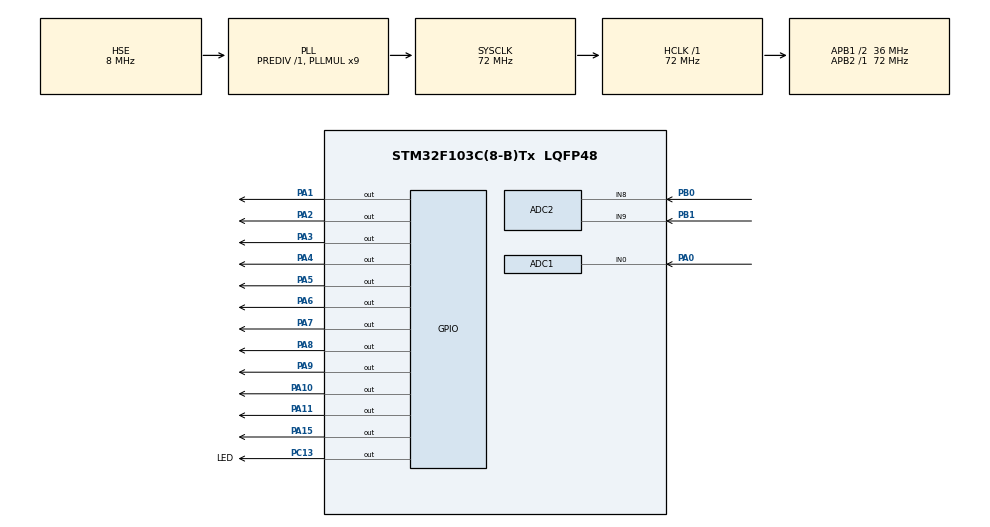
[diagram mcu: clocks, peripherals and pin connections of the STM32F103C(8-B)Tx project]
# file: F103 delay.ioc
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ADC1.Channel-5\#ChannelRegularConversion=ADC_CHANNEL_0
ADC1.DataAlign=ADC_DATAALIGN_RIGHT
ADC1.ExternalTrigConv=ADC_SOFTWARE_START
ADC1.NbrOfConversionFlag=1
ADC1.Rank-5\#ChannelRegularConversion=1
ADC1.SamplingTime-5\#ChannelRegularConversion=ADC_SAMPLETIME_1CYCLE_5
ADC1.master=1
ADC2.Channel-1\#ChannelRegularConversion=ADC_CHANNEL_8
ADC2.Channel-3\#ChannelRegularConversion=ADC_CHANNEL_9
ADC2.DiscontinuousConvMode=ENABLE
ADC2.NbrOfConversion=2
ADC2.NbrOfConversionFlag=1
ADC2.Rank-1\#ChannelRegularConversion=1
ADC2.Rank-3\#ChannelRegularConversion=2
ADC2.SamplingTime-1\#ChannelRegularConversion=ADC_SAMPLETIME_28CYCLES_5
ADC2.SamplingTime-3\#ChannelRegularConversion=ADC_SAMPLETIME_28CYCLES_5
Mcu.Family=STM32F1
Mcu.Name=STM32F103C(8-B)Tx
Mcu.Package=LQFP48
NVIC.ADC1_2_IRQn=true\:0\:0\:false\:false\:true\:true\:true
NVIC.PriorityGroup=NVIC_PRIORITYGROUP_4
NVIC.TIM2_IRQn=true\:0\:0\:false\:false\:true\:true\:true
NVIC.TIM3_IRQn=true\:0\:0\:false\:false\:true\:true\:true
PA0-WKUP.Signal=ADCx_IN0
PA1.GPIO_Speed=GPIO_SPEED_FREQ_LOW
PA1.Signal=GPIO_Output
PA10.GPIO_Speed=GPIO_SPEED_FREQ_LOW
PA10.Signal=GPIO_Output
PA11.GPIO_Speed=GPIO_SPEED_FREQ_LOW
PA11.Signal=GPIO_Output
PA13.Mode=Serial_Wire
PA13.Signal=SYS_JTMS-SWDIO
PA14.Mode=Serial_Wire
PA14.Signal=SYS_JTCK-SWCLK
PA15.GPIO_Speed=GPIO_SPEED_FREQ_LOW
PA15.Signal=GPIO_Output
PA2.GPIO_Speed=GPIO_SPEED_FREQ_LOW
PA2.Signal=GPIO_Output
PA3.GPIO_Speed=GPIO_SPEED_FREQ_LOW
PA3.Signal=GPIO_Output
PA4.GPIO_Speed=GPIO_SPEED_FREQ_LOW
PA4.Signal=GPIO_Output
PA5.GPIO_Speed=GPIO_SPEED_FREQ_LOW
PA5.Signal=GPIO_Output
PA6.GPIO_Speed=GPIO_SPEED_FREQ_LOW
PA6.Signal=GPIO_Output
PA7.GPIO_Speed=GPIO_SPEED_FREQ_LOW
PA7.Signal=GPIO_Output
PA8.GPIO_Speed=GPIO_SPEED_FREQ_LOW
PA8.Signal=GPIO_Output
PA9.GPIO_Speed=GPIO_SPEED_FREQ_LOW
PA9.Signal=GPIO_Output
PB0.Signal=ADCx_IN8
PB1.Signal=ADCx_IN9
PC13-TAMPER-RTC.GPIO_Label=LED
PC13-TAMPER-RTC.GPIO_ModeDefaultOutputPP=GPIO_MODE_OUTPUT_PP
PC13-TAMPER-RTC.Signal=GPIO_Output
PD0-OSC_IN.Mode=HSE-External-Oscillator
PD0-OSC_IN.Signal=RCC_OSC_IN
PD1-OSC_OUT.Mode=HSE-External-Oscillator
PD1-OSC_OUT.Signal=RCC_OSC_OUT
ProjectManager.HeapSize=0x200
ProjectManager.StackSize=0x400
ProjectManager.TargetToolchain=STM32CubeIDE
RCC.ADCPresc=RCC_ADCPCLK2_DIV6
RCC.AHBFreq_Value=72000000
RCC.APB1CLKDivider=RCC_HCLK_DIV2
RCC.APB1Freq_Value=36000000
RCC.APB1TimFreq_Value=72000000
RCC.APB2Freq_Value=72000000
RCC.APB2TimFreq_Value=72000000
RCC.HCLKFreq_Value=72000000
RCC.PLLMUL=RCC_PLL_MUL9
RCC.PLLSourceVirtual=RCC_PLLSOURCE_HSE
RCC.SYSCLKFreq_VALUE=72000000
RCC.SYSCLKSource=RCC_SYSCLKSOURCE_PLLCLK
RCC.USBFreq_Value=72000000
SH.ADCx_IN0.0=ADC1_IN0,IN0
SH.ADCx_IN8.0=ADC2_IN8,IN8
SH.ADCx_IN9.0=ADC2_IN9,IN9
TIM2.AutoReloadPreload=TIM_AUTORELOAD_PRELOAD_ENABLE
TIM2.Period=720
TIM2.TIM_MasterOutputTrigger=TIM_TRGO_UPDATE
TIM3.AutoReloadPreload=TIM_AUTORELOAD_PRELOAD_ENABLE
TIM3.Period=1
TIM3.Prescaler=450
VP_TIM2_VS_ClockSourceINT.Mode=Internal
VP_TIM3_VS_ClockSourceINT.Mode=Internal
board=custom

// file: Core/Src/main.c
/* USER CODE BEGIN Header */
/**
  ******************************************************************************
  * @file           : main.c
  * @brief          : Main program body
  ******************************************************************************
  * @attention
  *
  * <h2><center>&copy; Copyright (c) 2020 STMicroelectronics.
  * All rights reserved.</center></h2>
  *
  * This software component is licensed by ST under BSD 3-Clause license,
  * the "License"; You may not use this file except in compliance with the
  * License. You may obtain a copy of the License at:
  *                        opensource.org/licenses/BSD-3-Clause
  *
  ******************************************************************************
  */
/* USER CODE END Header */
#include "main.h"
#include "adc.h"
#include "tim.h"
#include "gpio.h"

/* USER CODE BEGIN PV */
#define SYSCLOCK 72000000

volatile uint32_t delayLength = 512;
volatile uint16_t buffer[8192];
volatile uint16_t p = 0;

volatile uint16_t start = 2000;
volatile int32_t max = 200;
volatile int32_t t = 0;
volatile int32_t inc = 1;

volatile uint32_t period;
volatile uint32_t tim3_counter = 0;

/* USER CODE END PV */

void SystemClock_Config(void);

/* USER CODE BEGIN 0 */
#define LERP(A, B, X) (A * X + B * (1.0f - X))
/* USER CODE END 0 */

int main(void)
{

  /* MCU Configuration--------------------------------------------------------*/

  /* Reset of all peripherals, Initializes the Flash interface and the Systick. */
  HAL_Init();

  /* Configure the system clock */
  SystemClock_Config();

  /* Initialize all configured peripherals */
  MX_GPIO_Init();
  MX_ADC1_Init();
  MX_TIM3_Init();
  MX_TIM2_Init();
  MX_ADC2_Init();
  /* USER CODE BEGIN 2 */
  unsigned short pinState = 0;
  HAL_GPIO_WritePin(LED_GPIO_Port, LED_Pin, pinState);

  while(HAL_ADCEx_Calibration_Start(&hadc1) != HAL_OK);
  while(HAL_ADCEx_Calibration_Start(&hadc2) != HAL_OK);

  uint32_t sampleRate = 50000;
  TIM2->ARR = SYSCLOCK / sampleRate;
  HAL_TIM_Base_Start_IT(&htim3);
  HAL_TIM_Base_Start_IT(&htim2);

  TIM2->ARR = 720 * 5.0f;

  /* USER CODE END 2 */

  /* Infinite loop */
  while (1)
  {

    /* USER CODE BEGIN 3 */

		HAL_ADC_Start(&hadc2);
		HAL_ADC_PollForConversion(&hadc2, HAL_MAX_DELAY);
		uint16_t raw = HAL_ADC_GetValue(&hadc2);

		float freq = LERP(0.25f, 5.0f, (raw / 4096.0f));// 4.0f;

		HAL_ADC_Start(&hadc2);
		HAL_ADC_PollForConversion(&hadc2, HAL_MAX_DELAY);
		raw = HAL_ADC_GetValue(&hadc2);
		float depth = raw / 4096.0f;

		max = 50 + 2830 / (freq * 2.0f);
		max *= depth;

		float FTim3 = max * freq * 2.0f;

		uint32_t prescaler = 450;
		period = 72000000 / (prescaler * FTim3);

		uint32_t mid = 2880;
		//start = mid - max / 2;

		TIM3->ARR = period-1;
		TIM3->PSC = prescaler-1;

		HAL_Delay(20);
  }
  /* USER CODE END 3 */
}

void SystemClock_Config(void)
{
  RCC_OscInitTypeDef RCC_OscInitStruct = {0};
  RCC_ClkInitTypeDef RCC_ClkInitStruct = {0};
  RCC_PeriphCLKInitTypeDef PeriphClkInit = {0};

  /** Initializes the RCC Oscillators according to the specified parameters
  * in the RCC_OscInitTypeDef structure.
  */
  RCC_OscInitStruct.OscillatorType = RCC_OSCILLATORTYPE_HSE;
  RCC_OscInitStruct.HSEState = RCC_HSE_ON;
  RCC_OscInitStruct.HSEPredivValue = RCC_HSE_PREDIV_DIV1;
  RCC_OscInitStruct.HSIState = RCC_HSI_ON;
  RCC_OscInitStruct.PLL.PLLState = RCC_PLL_ON;
  RCC_OscInitStruct.PLL.PLLSource = RCC_PLLSOURCE_HSE;
  RCC_OscInitStruct.PLL.PLLMUL = RCC_PLL_MUL9;
  if (HAL_RCC_OscConfig(&RCC_OscInitStruct) != HAL_OK)
  {
    Error_Handler();
  }
  /** Initializes the CPU, AHB and APB buses clocks
  */
  RCC_ClkInitStruct.ClockType = RCC_CLOCKTYPE_HCLK|RCC_CLOCKTYPE_SYSCLK
                              |RCC_CLOCKTYPE_PCLK1|RCC_CLOCKTYPE_PCLK2;
  RCC_ClkInitStruct.SYSCLKSource = RCC_SYSCLKSOURCE_PLLCLK;
  RCC_ClkInitStruct.AHBCLKDivider = RCC_SYSCLK_DIV1;
  RCC_ClkInitStruct.APB1CLKDivider = RCC_HCLK_DIV2;
  RCC_ClkInitStruct.APB2CLKDivider = RCC_HCLK_DIV1;

  if (HAL_RCC_ClockConfig(&RCC_ClkInitStruct, FLASH_LATENCY_2) != HAL_OK)
  {
    Error_Handler();
  }
  PeriphClkInit.PeriphClockSelection = RCC_PERIPHCLK_ADC;
  PeriphClkInit.AdcClockSelection = RCC_ADCPCLK2_DIV6;
  if (HAL_RCCEx_PeriphCLKConfig(&PeriphClkInit) != HAL_OK)
  {
    Error_Handler();
  }
}

/* USER CODE BEGIN 4 */
#define DAC_OUTPUT(X) GPIOA->ODR = ((X & 0x7FF) << 1) + ((X & 0x800) << 4);

//#define DEBUG_DAC

void HAL_TIM_PeriodElapsedCallback(TIM_HandleTypeDef *htim) {
	if(htim == &htim3) {
		if(t >= max)
			inc = -1;
		if(t <= 0)
			inc = 1;

		t = t + inc;

#ifndef DEBUG_DAC
		TIM2->ARR = 720 + start + t;
#endif
	}

	else if(htim == &htim2) {

#ifdef DEBUG_DAC
#define M_PI 3.1415926535897932384
		int s = 64;
		//float a = 2.0f * 3.14f * (float)p / (float)s;
		//GPIOA->ODR = buffer[p] = ((uint16_t)((sin(200.0f*a) * 0.5f + 0.5f) * 4096.0f)) << 1;
		//GPIOA->ODR =  (p <= s ? p : 2 * s - p);
		//p = (p + 1) % (s * 2 - 1);
		//GPIOA->ODR = (p > 0 ? 512 : 0) << 1;

		int v = 4095.0f * (sinf(2.0f * M_PI * (float)p / (float)s) * 0.5f + 0.5f);
		DAC_OUTPUT(v);

		p = (p + 1) % s;
#else
		uint16_t value = HAL_ADC_GetValue(&hadc1);
		HAL_ADC_Start(&hadc1);

		DAC_OUTPUT(buffer[p]);

		buffer[p] = value + 100;

		p = (p + 1) % delayLength;
#endif
	}
}

void HAL_ADC_ConvCpltCallback(ADC_HandleTypeDef* hadc){
}
/* USER CODE END 4 */

void Error_Handler(void)
{
}

/************************ (C) COPYRIGHT STMicroelectronics *****END OF FILE****/
